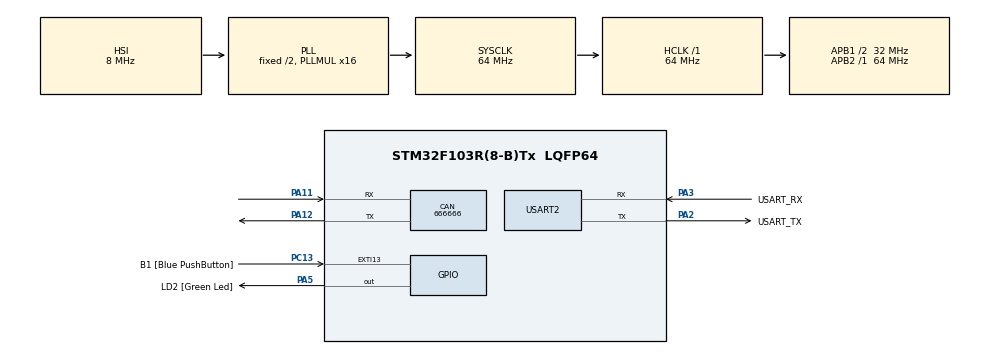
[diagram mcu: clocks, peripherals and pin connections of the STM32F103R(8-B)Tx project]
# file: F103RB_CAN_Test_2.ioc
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CAN.CalculateBaudRate=666666
CAN.CalculateTimeBit=1500.00
CAN.CalculateTimeQuantum=500.0
CAN.Mode=CAN_MODE_LOOPBACK
Mcu.Family=STM32F1
Mcu.Name=STM32F103R(8-B)Tx
Mcu.Package=LQFP64
NVIC.CAN1_RX1_IRQn=true\:0\:0\:false\:false\:true\:true\:true
NVIC.EXTI15_10_IRQn=true\:0\:0\:false\:false\:true\:true\:true
NVIC.PriorityGroup=NVIC_PRIORITYGROUP_4
NVIC.USB_LP_CAN1_RX0_IRQn=true\:0\:0\:false\:false\:true\:true\:true
PA11.Mode=CAN_Activate
PA11.Signal=CAN_RX
PA12.Mode=CAN_Activate
PA12.Signal=CAN_TX
PA13.GPIO_Label=TMS
PA13.Mode=Serial_Wire
PA13.Signal=SYS_JTMS-SWDIO
PA14.GPIO_Label=TCK
PA14.Mode=Serial_Wire
PA14.Signal=SYS_JTCK-SWCLK
PA2.GPIO_Label=USART_TX
PA2.GPIO_Mode=GPIO_MODE_AF_PP
PA2.GPIO_PuPd=GPIO_NOPULL
PA2.GPIO_Speed=GPIO_SPEED_FREQ_LOW
PA2.Mode=Asynchronous
PA2.Signal=USART2_TX
PA3.GPIO_Label=USART_RX
PA3.GPIO_Mode=GPIO_MODE_AF_PP
PA3.GPIO_PuPd=GPIO_NOPULL
PA3.GPIO_Speed=GPIO_SPEED_FREQ_LOW
PA3.Mode=Asynchronous
PA3.Signal=USART2_RX
PA5.GPIO_Label=LD2 [Green Led]
PA5.GPIO_ModeDefaultOutputPP=GPIO_MODE_OUTPUT_PP
PA5.GPIO_PuPd=GPIO_NOPULL
PA5.GPIO_Speed=GPIO_SPEED_FREQ_LOW
PA5.Signal=GPIO_Output
PB3.GPIO_Label=SWO
PB3.Signal=SYS_JTDO-TRACESWO
PC13-TAMPER-RTC.GPIO_Label=B1 [Blue PushButton]
PC13-TAMPER-RTC.GPIO_PuPd=GPIO_NOPULL
PC13-TAMPER-RTC.Signal=GPXTI13
PC14-OSC32_IN.Mode=LSE-External-Oscillator
PC14-OSC32_IN.Signal=RCC_OSC32_IN
PC15-OSC32_OUT.Mode=LSE-External-Oscillator
PC15-OSC32_OUT.Signal=RCC_OSC32_OUT
PD0-OSC_IN.Mode=HSE-External-Clock-Source
PD0-OSC_IN.Signal=RCC_OSC_IN
PD1-OSC_OUT.Mode=HSE-External-Clock-Source
PD1-OSC_OUT.Signal=RCC_OSC_OUT
ProjectManager.HeapSize=0x200
ProjectManager.StackSize=0x400
ProjectManager.TargetToolchain=STM32CubeIDE
RCC.AHBFreq_Value=64000000
RCC.APB1CLKDivider=RCC_HCLK_DIV2
RCC.APB1Freq_Value=32000000
RCC.APB1TimFreq_Value=64000000
RCC.APB2Freq_Value=64000000
RCC.APB2TimFreq_Value=64000000
RCC.HCLKFreq_Value=64000000
RCC.PLLMUL=RCC_PLL_MUL16
RCC.RTCClockSelection=RCC_RTCCLKSOURCE_LSE
RCC.SYSCLKFreq_VALUE=64000000
RCC.SYSCLKSource=RCC_SYSCLKSOURCE_PLLCLK
RCC.USBFreq_Value=64000000
USART2.VirtualMode=VM_ASYNC
board=NUCLEO-F103RB

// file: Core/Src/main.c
/* USER CODE BEGIN Header */
/**
  ******************************************************************************
  * @file           : main.c
  * @brief          : Main program body
  ******************************************************************************
  * @attention
  *
  * <h2><center>&copy; Copyright (c) 2022 STMicroelectronics.
  * All rights reserved.</center></h2>
  *
  * This software component is licensed by ST under BSD 3-Clause license,
  * the "License"; You may not use this file except in compliance with the
  * License. You may obtain a copy of the License at:
  *                        opensource.org/licenses/BSD-3-Clause
  *
  ******************************************************************************
  */
/* USER CODE END Header */
#include "main.h"

CAN_HandleTypeDef hcan;

UART_HandleTypeDef huart2;

void SystemClock_Config(void);
static void MX_GPIO_Init(void);
static void MX_USART2_UART_Init(void);
static void MX_CAN_Init(void);

/* USER CODE BEGIN 0 */
CAN_TxHeaderTypeDef TxHeader; //tx header
CAN_RxHeaderTypeDef RxHeader; //rx header

uint8_t TxData[8]; // = {0x01, 0x02, 0x03, 0x04, 0x05, 0x06, 0x07, 0x08}; //tx bufer
uint8_t RxData[8]; // = {0,0,0,0,0,0,0,0}; //rx buffer
uint32_t TxMailbox; //mailbox holder
uint8_t count = 0;

void HAL_CAN_RxFifo0MsgPendingCallback(CAN_HandleTypeDef *hcan)
{
	count++;
//	HAL_CAN_GetRxMessage(hcan, CAN_RX_FIFO0, &RxHeader, RxData);
//	HAL_GPIO_TogglePin(LD1_GPIO_Port, LD1_Pin);
}
/* USER CODE END 0 */

int main(void)
{

  /* MCU Configuration--------------------------------------------------------*/

  /* Reset of all peripherals, Initializes the Flash interface and the Systick. */
  HAL_Init();

  /* Configure the system clock */
  SystemClock_Config();

  /* Initialize all configured peripherals */
  MX_GPIO_Init();
  MX_USART2_UART_Init();
  MX_CAN_Init();
  /* USER CODE BEGIN 2 */

  HAL_CAN_Start(&hcan);

  HAL_CAN_ActivateNotification(&hcan, CAN_IT_RX_FIFO0_MSG_PENDING);

  TxHeader.DLC = 1; //message size of two bytes
  TxHeader.ExtId = 0;
  TxHeader.IDE = CAN_ID_STD; //use standard ID formats
  TxHeader.RTR = CAN_RTR_DATA; //data type for transmit frame
  TxHeader.StdId = 0x103; //ID of the transmitter
  TxHeader.TransmitGlobalTime = DISABLE;

  TxData[0] = 0xf3;

  HAL_CAN_AddTxMessage(&hcan, &TxHeader, TxData, &TxMailbox);
  /* USER CODE END 2 */

  /* Infinite loop */
  while (1)
  {

  }
}

void SystemClock_Config(void)
{
  RCC_OscInitTypeDef RCC_OscInitStruct = {0};
  RCC_ClkInitTypeDef RCC_ClkInitStruct = {0};

  /** Initializes the RCC Oscillators according to the specified parameters
  * in the RCC_OscInitTypeDef structure.
  */
  RCC_OscInitStruct.OscillatorType = RCC_OSCILLATORTYPE_HSI;
  RCC_OscInitStruct.HSIState = RCC_HSI_ON;
  RCC_OscInitStruct.HSICalibrationValue = RCC_HSICALIBRATION_DEFAULT;
  RCC_OscInitStruct.PLL.PLLState = RCC_PLL_ON;
  RCC_OscInitStruct.PLL.PLLSource = RCC_PLLSOURCE_HSI_DIV2;
  RCC_OscInitStruct.PLL.PLLMUL = RCC_PLL_MUL16;
  if (HAL_RCC_OscConfig(&RCC_OscInitStruct) != HAL_OK)
  {
    Error_Handler();
  }
  /** Initializes the CPU, AHB and APB buses clocks
  */
  RCC_ClkInitStruct.ClockType = RCC_CLOCKTYPE_HCLK|RCC_CLOCKTYPE_SYSCLK
                              |RCC_CLOCKTYPE_PCLK1|RCC_CLOCKTYPE_PCLK2;
  RCC_ClkInitStruct.SYSCLKSource = RCC_SYSCLKSOURCE_PLLCLK;
  RCC_ClkInitStruct.AHBCLKDivider = RCC_SYSCLK_DIV1;
  RCC_ClkInitStruct.APB1CLKDivider = RCC_HCLK_DIV2;
  RCC_ClkInitStruct.APB2CLKDivider = RCC_HCLK_DIV1;

  if (HAL_RCC_ClockConfig(&RCC_ClkInitStruct, FLASH_LATENCY_2) != HAL_OK)
  {
    Error_Handler();
  }
}

static void MX_CAN_Init(void)
{

  hcan.Instance = CAN1;
  hcan.Init.Prescaler = 16;
  hcan.Init.Mode = CAN_MODE_LOOPBACK;
  hcan.Init.SyncJumpWidth = CAN_SJW_1TQ;
  hcan.Init.TimeSeg1 = CAN_BS1_1TQ;
  hcan.Init.TimeSeg2 = CAN_BS2_1TQ;
  hcan.Init.TimeTriggeredMode = DISABLE;
  hcan.Init.AutoBusOff = DISABLE;
  hcan.Init.AutoWakeUp = DISABLE;
  hcan.Init.AutoRetransmission = DISABLE;
  hcan.Init.ReceiveFifoLocked = DISABLE;
  hcan.Init.TransmitFifoPriority = DISABLE;
  if (HAL_CAN_Init(&hcan) != HAL_OK)
  {
    Error_Handler();
  }
  /* USER CODE BEGIN CAN_Init 2 */
  CAN_FilterTypeDef canFilterConfig;  //can filter config
	canFilterConfig.FilterActivation = CAN_FILTER_ENABLE;
	canFilterConfig.FilterBank = 10;
	canFilterConfig.FilterFIFOAssignment = CAN_FILTER_FIFO0;
	canFilterConfig.FilterIdHigh = 0;
	canFilterConfig.FilterIdLow = 0x0000;
	canFilterConfig.FilterMaskIdHigh = 0;
	canFilterConfig.FilterMaskIdLow = 0x0000;
	canFilterConfig.FilterMode = CAN_FILTERMODE_IDMASK;
	canFilterConfig.FilterScale = CAN_FILTERSCALE_32BIT;
	canFilterConfig.SlaveStartFilterBank = 0;
	//Configuring CAN filter for CAN1
	HAL_CAN_ConfigFilter(&hcan, &canFilterConfig);

  /* USER CODE END CAN_Init 2 */

}

static void MX_USART2_UART_Init(void)
{

  huart2.Instance = USART2;
  huart2.Init.BaudRate = 115200;
  huart2.Init.WordLength = UART_WORDLENGTH_8B;
  huart2.Init.StopBits = UART_STOPBITS_1;
  huart2.Init.Parity = UART_PARITY_NONE;
  huart2.Init.Mode = UART_MODE_TX_RX;
  huart2.Init.HwFlowCtl = UART_HWCONTROL_NONE;
  huart2.Init.OverSampling = UART_OVERSAMPLING_16;
  if (HAL_UART_Init(&huart2) != HAL_OK)
  {
    Error_Handler();
  }

}

static void MX_GPIO_Init(void)
{
  GPIO_InitTypeDef GPIO_InitStruct = {0};

  /* GPIO Ports Clock Enable */
  __HAL_RCC_GPIOC_CLK_ENABLE();
  __HAL_RCC_GPIOD_CLK_ENABLE();
  __HAL_RCC_GPIOA_CLK_ENABLE();
  __HAL_RCC_GPIOB_CLK_ENABLE();

  /*Configure GPIO pin Output Level */
  HAL_GPIO_WritePin(LD2_GPIO_Port, LD2_Pin, GPIO_PIN_RESET);

  /*Configure GPIO pin : B1_Pin */
  GPIO_InitStruct.Pin = B1_Pin;
  GPIO_InitStruct.Mode = GPIO_MODE_IT_RISING;
  GPIO_InitStruct.Pull = GPIO_NOPULL;
  HAL_GPIO_Init(B1_GPIO_Port, &GPIO_InitStruct);

  /*Configure GPIO pin : LD2_Pin */
  GPIO_InitStruct.Pin = LD2_Pin;
  GPIO_InitStruct.Mode = GPIO_MODE_OUTPUT_PP;
  GPIO_InitStruct.Pull = GPIO_NOPULL;
  GPIO_InitStruct.Speed = GPIO_SPEED_FREQ_LOW;
  HAL_GPIO_Init(LD2_GPIO_Port, &GPIO_InitStruct);

  /* EXTI interrupt init*/
  HAL_NVIC_SetPriority(EXTI15_10_IRQn, 0, 0);
  HAL_NVIC_EnableIRQ(EXTI15_10_IRQn);

}

void Error_Handler(void)
{
  __disable_irq();
  while (1)
  {
  }
}

/************************ (C) COPYRIGHT STMicroelectronics *****END OF FILE****/
